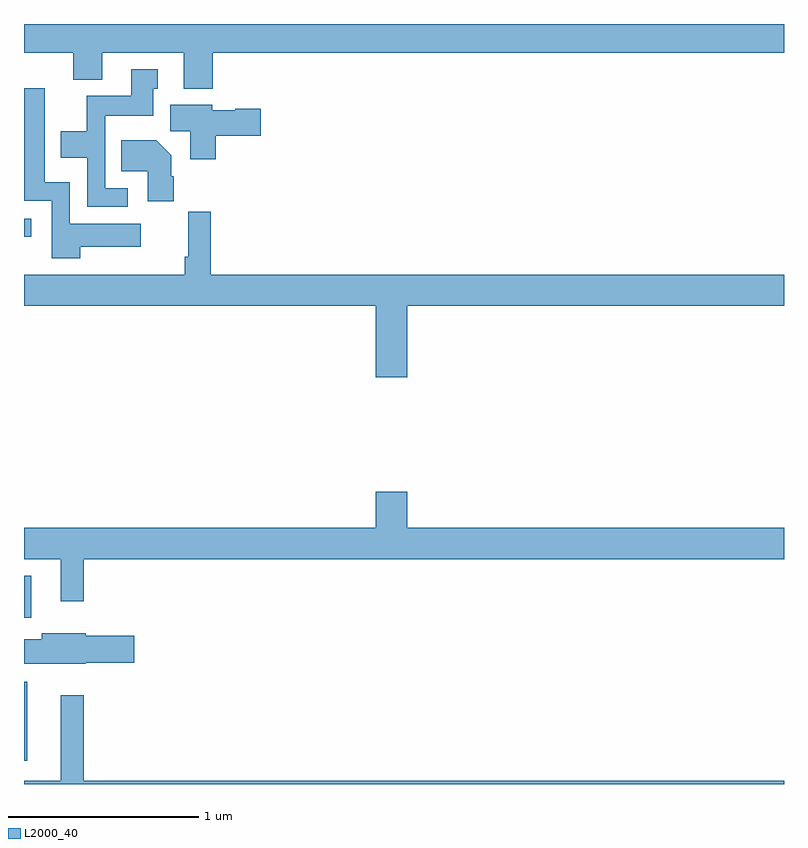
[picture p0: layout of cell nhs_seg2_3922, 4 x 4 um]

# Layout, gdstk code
import gdstk
lib = gdstk.Library(unit=1e-6, precision=1e-09)
def R(c, l, rs):  # rectangles x0, y0, x1, y1
    for r in rs: c.add(gdstk.rectangle(r[:2], r[2:], *l))
def P(c, l, *ps):  # polygons
    for p in ps: c.add(gdstk.Polygon(p, *l))
L2000_40 = (2000, 40)

nhs_seg2_3922 = lib.new_cell('nhs_seg2_3922')
R(nhs_seg2_3922, L2000_40, [(319,631.923,319.018,632.338), (319,632.675,319.039,632.896), (319,634.679,319.039,634.776)])
P(nhs_seg2_3922, L2000_40, [(319.994,635.648),(323,635.648),(323,635.8),(319,635.8),(319,635.648),(319.259,635.648),(319.259,635.507),(319.411,635.507),(319.411,635.648),(319.841,635.648),(319.841,635.459),(319.994,635.459)],
  [(319.546,634.935),(319.428,634.935),(319.428,635.318),(319.681,635.318),(319.681,635.46),(319.705,635.46),(319.705,635.563),(319.565,635.563),(319.565,635.422),(319.33,635.422),(319.33,635.236),(319.193,635.236),(319.193,635.096),(319.332,635.096),(319.332,634.839),(319.546,634.839)],
  [(319.295,634.628),(319.615,634.628),(319.615,634.75),(319.242,634.75),(319.242,634.966),(319.108,634.966),(319.108,635.461),(319,635.461),(319,634.869),(319.146,634.869),(319.146,634.566),(319.295,634.566)],
  [(320.009,635.213),(320.245,635.213),(320.245,635.355),(320.112,635.355),(320.112,635.347),(319.992,635.347),(319.992,635.374),(319.769,635.374),(319.769,635.236),(319.874,635.236),(319.874,635.088),(320.009,635.088)],
  [(319.787,635),(319.774,635),(319.774,635.11),(319.696,635.188),(319.513,635.188),(319.513,635.024),(319.652,635.024),(319.652,634.866),(319.787,634.866)],
  [(321.016,634.316),(323,634.316),(323,634.48),(319.982,634.48),(319.982,634.813),(319.864,634.813),(319.864,634.576),(319.846,634.576),(319.846,634.48),(319,634.48),(319,634.316),(320.852,634.316),(320.852,633.942),(321.016,633.942)],
  [(319.315,632.984),(323,632.984),(323,633.148),(321.016,633.148),(321.016,633.337),(320.852,633.337),(320.852,633.148),(319,633.148),(319,632.984),(319.193,632.984),(319.193,632.763),(319.315,632.763)],
  [(319.326,632.438),(319.579,632.438),(319.579,632.58),(319.326,632.58),(319.326,632.593),(319.094,632.593),(319.094,632.561),(319,632.561),(319,632.432),(319.326,632.432)],
  [(323,631.816),(319.315,631.816),(319.315,632.266),(319.193,632.266),(319.193,631.816),(319,631.816),(319,631.8),(323,631.8)])

lib.write_gds('nhs_seg2_3922.gds')
